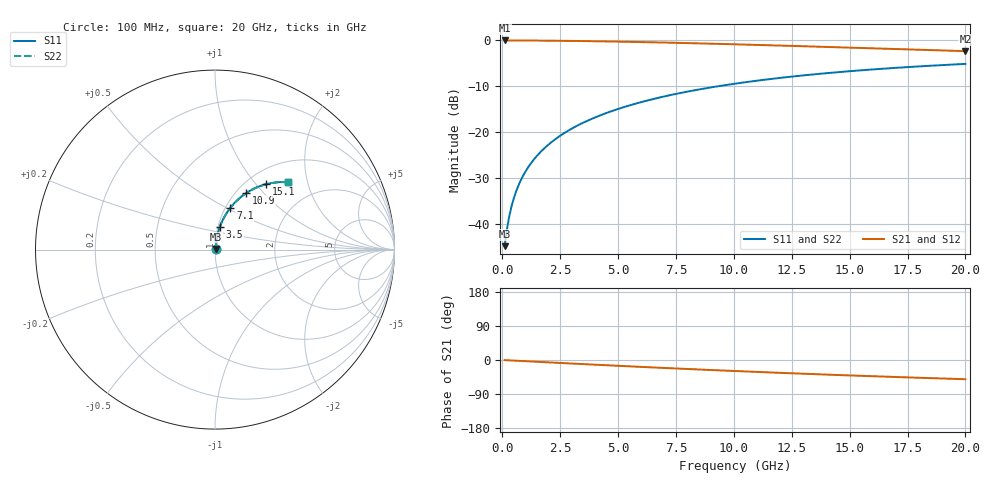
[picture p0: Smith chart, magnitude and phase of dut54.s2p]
! Touchstone file exported from HFSS 2024.1.0
!  File:  C:/UserFiles/LocalFiles/RDL_TSV_Batchsim/temp_RDL_bottom_54_1778693137.aedt
!  Generated:  01:28:19 AM May 14, 2026
!  Design:  RDL_bottom
!  Project:  temp_RDL_bottom_54_1778693137
!  Setup:  Setup1
!  Solution:  Sweep
! Variables:
!  dtsv = 10.80580581um
!  hbump = 3um
!  htsv = 61.1um
!  ldown = 673.35um
!  lrdl = 100um
!  p = 40
!  p1 = 55.35um
!  rhole = 1um
!  t = 450um
!  tdown = 4.94um
!  trdl = 3.915915916um
!  wdown = 11.23um
!  wrdl = 20um
# GHz S MA R 50.000000
! Terminal data exported
! Port[1] = RDL1_T1
! Port[2] = RDL1_T2
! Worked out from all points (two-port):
!   200 points, 100 MHz to 20 GHz, reference 50 ohm
!   highest |S21| = -0.04 dB at 100 MHz (marker M1); lowest = -2.4 dB at 20 GHz (marker M2)
!   |S21| within 3 dB of the highest: start of sweep to end of sweep
!   lowest |S11| = -44.8 dB at 100 MHz (marker M3), VSWR 1.01, Z = 50.4 + j0.379 ohm
!   |S11| at or under -10 dB: start of sweep to 9.332 GHz
!   |S22| runs from -44.8 to -5.2 dB; largest |S21 - S12| = 1.3e-14
!   S11 on the Smith chart (normalised r, x): 100 MHz: 1.01, +0.01; 3.5 GHz: 1.02, +0.26; 7.1 GHz: 1.05, +0.52; 10.9 GHz: 1.11, +0.81; 15.1 GHz: 1.22, +1.13; 20 GHz: 1.41, +1.52
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0.1  0.005725 41.0  0.9957 -0.3  0.9957 -0.3  0.005725 41.0
! Gamma 0 0 0 0
! Port Impedance 50 0 50 0
0.2  0.008697 59.4  0.9956 -0.6  0.9956 -0.6  0.008697 59.4
0.3  0.01209 67.7  0.9955 -1.0  0.9955 -1.0  0.01209 67.7
0.4  0.0156 72.1  0.9953 -1.3  0.9953 -1.3  0.0156 72.1
0.5  0.01916 74.8  0.9951 -1.6  0.9951 -1.6  0.01916 74.8
0.6  0.02274 76.6  0.9949 -1.9  0.9949 -1.9  0.02274 76.6
0.8  0.02994 78.8  0.9945 -2.5  0.9945 -2.5  0.02994 78.8
1.1  0.04078 80.2  0.9938 -3.5  0.9938 -3.5  0.04078 80.2
1.5  0.05526 80.8  0.9925 -4.7  0.9925 -4.7  0.05526 80.8
2.1  0.07693 80.5  0.9898 -6.6  0.9898 -6.6  0.07693 80.5
2.7  0.09845 79.7  0.9864 -8.5  0.9864 -8.5  0.09844 79.6
3.5  0.1268 78.1  0.9808 -10.9  0.9808 -10.9  0.1268 78.1
5  0.1787 74.8  0.9673 -15.3  0.9673 -15.3  0.1787 74.7
6.8  0.2383 70.5  0.9472 -20.5  0.9472 -20.5  0.2382 70.5
7.1  0.2479 69.8  0.9436 -21.3  0.9436 -21.3  0.2478 69.8
8.5  0.2915 66.5  0.9256 -25.1  0.9256 -25.1  0.2913 66.5
10.1  0.3383 62.8  0.9035 -29.2  0.9035 -29.2  0.3382 62.8
10.9  0.3605 61.0  0.8921 -31.2  0.8921 -31.2  0.3603 61.0
13.4  0.4243 55.5  0.8556 -37.2  0.8556 -37.2  0.424 55.5
15.1  0.4628 52.0  0.8306 -40.9  0.8306 -40.9  0.4625 52.0
16.7  0.4955 48.8  0.8074 -44.3  0.8074 -44.3  0.4951 48.8
20  0.5529 42.8  0.7617 -50.7  0.7617 -50.7  0.5525 42.7
